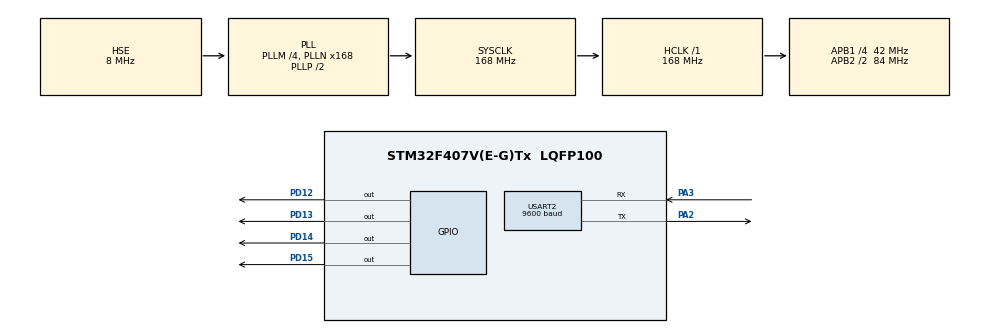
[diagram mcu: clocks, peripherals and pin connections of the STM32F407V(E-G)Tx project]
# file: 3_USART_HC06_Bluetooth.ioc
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Mcu.Family=STM32F4
Mcu.Name=STM32F407V(E-G)Tx
Mcu.Package=LQFP100
NVIC.PriorityGroup=NVIC_PRIORITYGROUP_4
PA13.Mode=Serial_Wire
PA13.Signal=SYS_JTMS-SWDIO
PA14.Mode=Serial_Wire
PA14.Signal=SYS_JTCK-SWCLK
PA2.Mode=Asynchronous
PA2.Signal=USART2_TX
PA3.Mode=Asynchronous
PA3.Signal=USART2_RX
PD12.Signal=GPIO_Output
PD13.Signal=GPIO_Output
PD14.Signal=GPIO_Output
PD15.Signal=GPIO_Output
PH0-OSC_IN.Mode=HSE-External-Oscillator
PH0-OSC_IN.Signal=RCC_OSC_IN
PH1-OSC_OUT.Mode=HSE-External-Oscillator
PH1-OSC_OUT.Signal=RCC_OSC_OUT
ProjectManager.HeapSize=0x200
ProjectManager.StackSize=0x400
ProjectManager.TargetToolchain=STM32CubeIDE
RCC.48MHZClocksFreq_Value=84000000
RCC.AHBFreq_Value=168000000
RCC.APB1CLKDivider=RCC_HCLK_DIV4
RCC.APB1Freq_Value=42000000
RCC.APB1TimFreq_Value=84000000
RCC.APB2CLKDivider=RCC_HCLK_DIV2
RCC.APB2Freq_Value=84000000
RCC.APB2TimFreq_Value=168000000
RCC.CortexFreq_Value=168000000
RCC.HCLKFreq_Value=168000000
RCC.HSE_VALUE=8000000
RCC.HSI_VALUE=16000000
RCC.LSE_VALUE=32768
RCC.PLLM=4
RCC.PLLN=168
RCC.PLLSourceVirtual=RCC_PLLSOURCE_HSE
RCC.SYSCLKFreq_VALUE=168000000
RCC.SYSCLKSource=RCC_SYSCLKSOURCE_PLLCLK
RCC.VCOOutputFreq_Value=336000000
USART2.BaudRate=9600
USART2.VirtualMode=VM_ASYNC
board=custom

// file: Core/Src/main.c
/* USER CODE BEGIN Header */
/**
  ******************************************************************************
  * @file           : main.c
  * @brief          : Main program body
  ******************************************************************************
  * @attention
  *
  * Copyright (c) 2023 STMicroelectronics.
  * All rights reserved.
  *
  * This software is licensed under terms that can be found in the LICENSE file
  * in the root directory of this software component.
  * If no LICENSE file comes with this software, it is provided AS-IS.
  *
  ******************************************************************************
  */
/* USER CODE END Header */
#include "main.h"

/* USER CODE BEGIN Includes */

#include <stdbool.h>
#include <stdio.h>
#include <string.h>

/* USER CODE END Includes */

UART_HandleTypeDef huart2;

/* USER CODE BEGIN PV */

bool led_state = false;
char rx_buffer[50], tx_buffer[50];

/* USER CODE END PV */

void SystemClock_Config(void);
static void MX_GPIO_Init(void);
static void MX_USART2_UART_Init(void);

int main(void)
{

  /* MCU Configuration--------------------------------------------------------*/

  /* Reset of all peripherals, Initializes the Flash interface and the Systick. */
  HAL_Init();

  /* Configure the system clock */
  SystemClock_Config();

  /* Initialize all configured peripherals */
  MX_GPIO_Init();
  MX_USART2_UART_Init();

  /* Infinite loop */
  while (1)
  {

    /* USER CODE BEGIN 3 */

	  HAL_UART_Receive(&huart2, (uint8_t *)rx_buffer, 50, 100);
	  if(rx_buffer[0] == 'l' && rx_buffer[1] == 'e' && rx_buffer[2] == 'd' && rx_buffer[3] == ' ' && rx_buffer[4] == 'o' && rx_buffer[5] == 'n'){
		  HAL_GPIO_WritePin(GPIOD, GPIO_PIN_12 | GPIO_PIN_13 | GPIO_PIN_14 | GPIO_PIN_15, 1);

		  if(led_state != true){
			  sprintf(tx_buffer, "Ledler Yandi\n" );
			  HAL_UART_Transmit(&huart2, (uint8_t *)tx_buffer, sizeof(tx_buffer), 100);
			  led_state = true;
		  }
	  }

	  if(rx_buffer[0] == 'l' && rx_buffer[1] == 'e' && rx_buffer[2] == 'd' && rx_buffer[3] == ' ' && rx_buffer[4] == 'o' && rx_buffer[5] == 'f' && rx_buffer[6] == 'f'){
		  HAL_GPIO_WritePin(GPIOD, GPIO_PIN_12 | GPIO_PIN_13 | GPIO_PIN_14 | GPIO_PIN_15, 0);

		   if(led_state != false){
			  sprintf(tx_buffer, "Ledler Sondu\n" );
			  HAL_UART_Transmit(&huart2, (uint8_t *)tx_buffer, sizeof(tx_buffer), 100);
			  led_state = false;
		  }
	  }

  }

  /* USER CODE END 3 */
}

void SystemClock_Config(void)
{
  RCC_OscInitTypeDef RCC_OscInitStruct = {0};
  RCC_ClkInitTypeDef RCC_ClkInitStruct = {0};

  /** Configure the main internal regulator output voltage
  */
  __HAL_RCC_PWR_CLK_ENABLE();
  __HAL_PWR_VOLTAGESCALING_CONFIG(PWR_REGULATOR_VOLTAGE_SCALE1);

  /** Initializes the RCC Oscillators according to the specified parameters
  * in the RCC_OscInitTypeDef structure.
  */
  RCC_OscInitStruct.OscillatorType = RCC_OSCILLATORTYPE_HSE;
  RCC_OscInitStruct.HSEState = RCC_HSE_ON;
  RCC_OscInitStruct.PLL.PLLState = RCC_PLL_ON;
  RCC_OscInitStruct.PLL.PLLSource = RCC_PLLSOURCE_HSE;
  RCC_OscInitStruct.PLL.PLLM = 4;
  RCC_OscInitStruct.PLL.PLLN = 168;
  RCC_OscInitStruct.PLL.PLLP = RCC_PLLP_DIV2;
  RCC_OscInitStruct.PLL.PLLQ = 4;
  if (HAL_RCC_OscConfig(&RCC_OscInitStruct) != HAL_OK)
  {
    Error_Handler();
  }

  /** Initializes the CPU, AHB and APB buses clocks
  */
  RCC_ClkInitStruct.ClockType = RCC_CLOCKTYPE_HCLK|RCC_CLOCKTYPE_SYSCLK
                              |RCC_CLOCKTYPE_PCLK1|RCC_CLOCKTYPE_PCLK2;
  RCC_ClkInitStruct.SYSCLKSource = RCC_SYSCLKSOURCE_PLLCLK;
  RCC_ClkInitStruct.AHBCLKDivider = RCC_SYSCLK_DIV1;
  RCC_ClkInitStruct.APB1CLKDivider = RCC_HCLK_DIV4;
  RCC_ClkInitStruct.APB2CLKDivider = RCC_HCLK_DIV2;

  if (HAL_RCC_ClockConfig(&RCC_ClkInitStruct, FLASH_LATENCY_5) != HAL_OK)
  {
    Error_Handler();
  }
}

static void MX_USART2_UART_Init(void)
{

  huart2.Instance = USART2;
  huart2.Init.BaudRate = 9600;
  huart2.Init.WordLength = UART_WORDLENGTH_8B;
  huart2.Init.StopBits = UART_STOPBITS_1;
  huart2.Init.Parity = UART_PARITY_NONE;
  huart2.Init.Mode = UART_MODE_TX_RX;
  huart2.Init.HwFlowCtl = UART_HWCONTROL_NONE;
  huart2.Init.OverSampling = UART_OVERSAMPLING_16;
  if (HAL_UART_Init(&huart2) != HAL_OK)
  {
    Error_Handler();
  }

}

static void MX_GPIO_Init(void)
{
  GPIO_InitTypeDef GPIO_InitStruct = {0};

  /* GPIO Ports Clock Enable */
  __HAL_RCC_GPIOH_CLK_ENABLE();
  __HAL_RCC_GPIOA_CLK_ENABLE();
  __HAL_RCC_GPIOD_CLK_ENABLE();

  /*Configure GPIO pin Output Level */
  HAL_GPIO_WritePin(GPIOD, GPIO_PIN_12|GPIO_PIN_13|GPIO_PIN_14|GPIO_PIN_15, GPIO_PIN_RESET);

  /*Configure GPIO pins : PD12 PD13 PD14 PD15 */
  GPIO_InitStruct.Pin = GPIO_PIN_12|GPIO_PIN_13|GPIO_PIN_14|GPIO_PIN_15;
  GPIO_InitStruct.Mode = GPIO_MODE_OUTPUT_PP;
  GPIO_InitStruct.Pull = GPIO_NOPULL;
  GPIO_InitStruct.Speed = GPIO_SPEED_FREQ_LOW;
  HAL_GPIO_Init(GPIOD, &GPIO_InitStruct);

}

void Error_Handler(void)
{
  __disable_irq();
  while (1)
  {
  }
}
